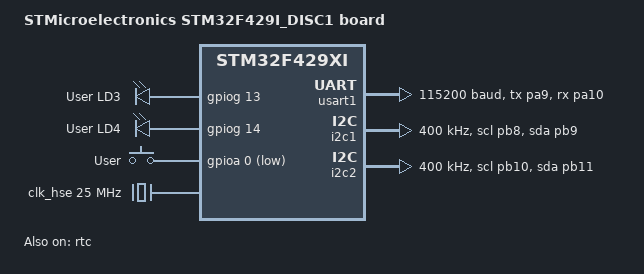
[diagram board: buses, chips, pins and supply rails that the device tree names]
/*
 * Copyright (c) 2017 Linaro Limited
 * Copyright (c) 2024 STMicroelectronics
 *
 * SPDX-License-Identifier: Apache-2.0
 */

/dts-v1/;
#include <st/f4/stm32f429Xi.dtsi>
#include <st/f4/stm32f429i(e-g)tx-pinctrl.dtsi>
#include <zephyr/dt-bindings/display/ili9xxx.h>
#include <zephyr/dt-bindings/input/input-event-codes.h>

/ {
	model = "STMicroelectronics STM32F429I_DISC1 board";
	compatible = "st,stm32f4discovery";

	chosen {
		zephyr,console = &usart1;
		zephyr,shell-uart = &usart1;
		zephyr,sram = &sram0;
		zephyr,flash = &flash0;

	};


	leds {
		compatible = "gpio-leds";

		green_led_3: led_3 {
			gpios = <&gpiog 13 GPIO_ACTIVE_HIGH>;
			label = "User LD3";
		};

		red_led_4: led_4 {
			gpios = <&gpiog 14 GPIO_ACTIVE_HIGH>;
			label = "User LD4";
		};
	};

	gpio_keys {
		compatible = "gpio-keys";

		user_button: button {
			label = "User";
			gpios = <&gpioa 0 GPIO_ACTIVE_LOW>;
			zephyr,code = <INPUT_KEY_0>;
		};
	};

	aliases {
		led0 = &green_led_3;
		led1 = &red_led_4;
		sw0 = &user_button;
	};

};

&clk_lsi {
	status = "okay";
};

&clk_hse {
	clock-frequency = <DT_FREQ_M(25)>;
	status = "okay";
};

&pll {
	div-m = <25>;
	mul-n = <360>;
	div-p = <2>;
	div-q = <7>;
	clocks = <&clk_hse>;
	status = "okay";
};


&rcc {
	clocks = <&pll>;
	clock-frequency = <DT_FREQ_M(180)>;
	ahb-prescaler = <1>;
	apb1-prescaler = <4>;
	apb2-prescaler = <2>;
};

&usart1 {
	pinctrl-0 = <&usart1_tx_pa9 &usart1_rx_pa10>;
	pinctrl-names = "default";
	current-speed = <115200>;
	status = "okay";
};

&rtc {
	clocks = <&rcc STM32_CLOCK(APB1, 28)>,
		 <&rcc STM32_SRC_LSI RTC_SEL(2)>;
	status = "okay";
};

&i2c1 {
	pinctrl-0 = <&i2c1_scl_pb8 &i2c1_sda_pb9>;
	pinctrl-names = "default";
	status = "okay";
	clock-frequency = <I2C_BITRATE_FAST>;
};

&i2c2 {
	pinctrl-0 = <&i2c2_scl_pb10 &i2c2_sda_pb11>;
	pinctrl-names = "default";
	status = "okay";
	clock-frequency = <I2C_BITRATE_FAST>;
};







